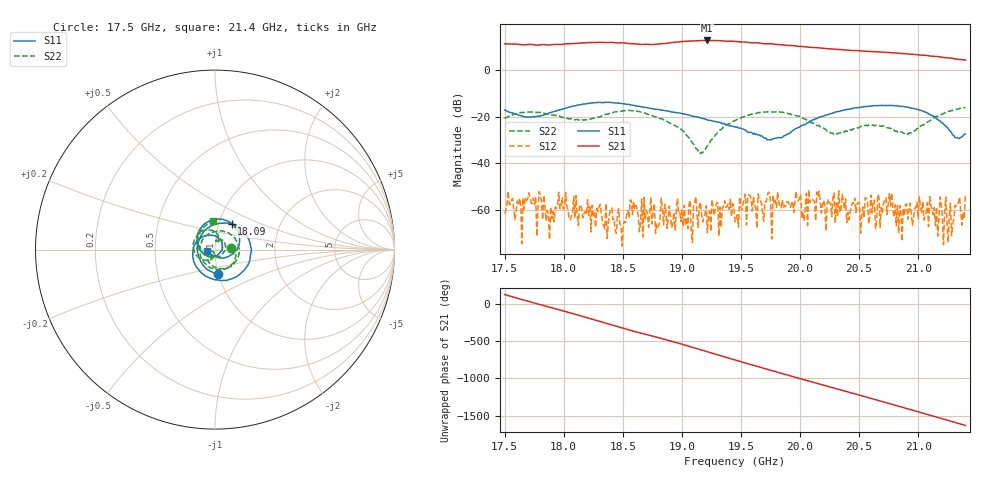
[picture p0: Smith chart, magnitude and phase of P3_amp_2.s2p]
!Created with skrf (http://scikit-rf.org).
# GHz S RI R 50.0
!freq ReS11 ImS11 ReS21 ImS21 ReS12 ImS12 ReS22 ImS22
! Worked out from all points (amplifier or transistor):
!   401 points, 17.5 GHz to 21.4 GHz, reference 50 ohm
!   highest |S21| = 12.7 dB at 19.22 GHz (marker M1)
!   |S21| within 3 dB of that: start of sweep to 20.1 GHz
!   unconditionally stable (mu >= 1): start of sweep to end of sweep
!   at 18.14 GHz: K = 97.38, MAG = 11.8 dB, |S12| = -57.7 dB
!   at 19.45 GHz: K = 215.94, MAG = 12.3 dB, |S12| = -65.1 dB
!   at 21.4 GHz: K = 147.46, MAG = 4.4 dB, |S12| = -53.9 dB
!   S11 on the Smith chart (normalised r, x): 17.5 GHz: 0.99, -0.28; 18.09 GHz: 1.15, +0.34; 21.4 GHz: 0.92, -0.01
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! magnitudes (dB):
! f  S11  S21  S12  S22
! 17.5 GHz  -17.1  11.2  -61.5  -20.8
! 17.66 GHz  -19.8  10.8  -54.9  -18.2
! 17.7 GHz  -20.3  11.0  -55.3  -18.1
! 17.9 GHz  -18.1  10.9  -63.7  -19.3
! 17.97 GHz  -17.1  11.0  -59.5  -19.8
! 18.09 GHz  -15.4  11.3  -54.2  -21.1
! 18.15 GHz  -14.8  11.6  -59.9  -21.2
! 18.49 GHz  -14.4  11.7  -75.6  -17.5
! 18.58 GHz  -15.1  11.3  -62.1  -17.4
! 18.65 GHz  -15.7  11.0  -65.7  -18.0
! 18.81 GHz  -17.0  11.2  -66.5  -20.7
! 19.22 GHz  -21.3  12.7  -69.8  -32.6
! 19.45 GHz  -24.4  12.3  -65.1  -21.7
! 19.74 GHz  -29.9  11.3  -52.9  -17.8
! 20.1 GHz  -21.6  9.7  -55.4  -22.8
! 20.52 GHz  -15.9  8.2  -63.0  -24.0
! 20.76 GHz  -15.3  7.5  -53.1  -25.0
! 20.85 GHz  -15.5  7.1  -60.7  -26.5
! 21.12 GHz  -19.5  5.9  -59.6  -21.2
! 21.27 GHz  -26.3  5.2  -57.1  -17.6
! 21.33 GHz  -28.9  4.7  -58.4  -16.7
! 21.4 GHz  -27.5  4.3  -53.9  -16.0
